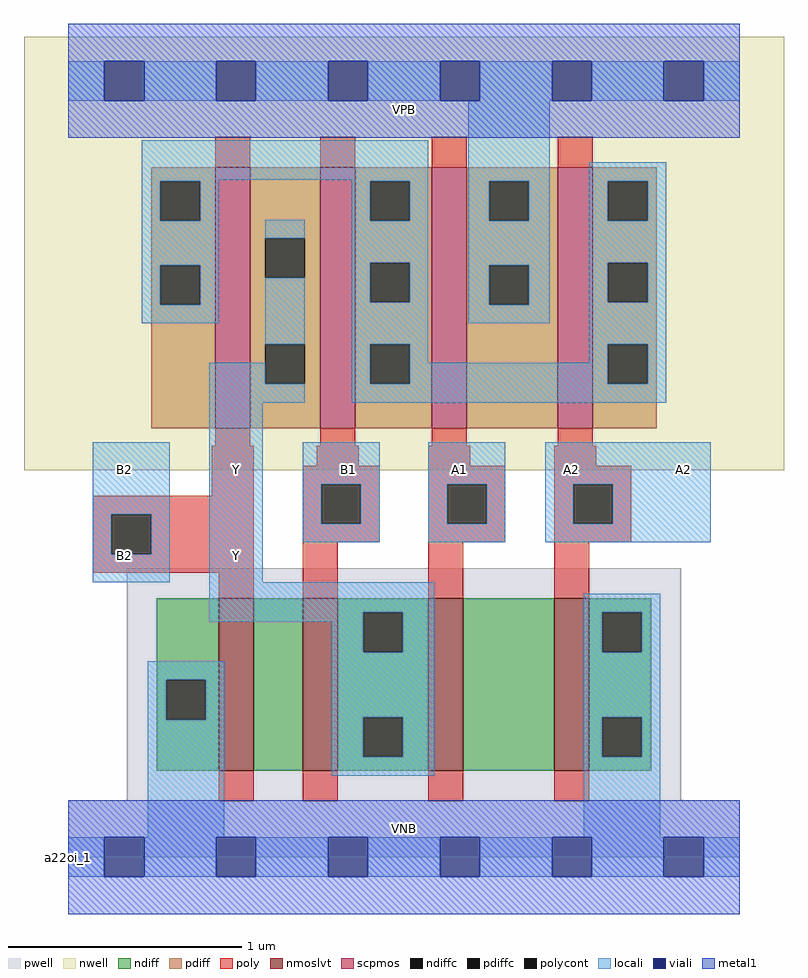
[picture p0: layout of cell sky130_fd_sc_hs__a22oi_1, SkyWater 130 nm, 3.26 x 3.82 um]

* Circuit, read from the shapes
.subckt sky130_fd_sc_hs__a22oi_1 A1 A2 B1 B2 VGND VNB VPB VPWR Y
XM1 n1 B2 VGND VNB sky130_fd_pr__nfet_01v8_lvt w=0.74 l=0.15
XM2 Y B1 n1 VNB sky130_fd_pr__nfet_01v8_lvt w=0.74 l=0.15
XM3 n2 A1 Y VNB sky130_fd_pr__nfet_01v8_lvt w=0.74 l=0.15
XM4 VGND A2 n2 VNB sky130_fd_pr__nfet_01v8_lvt w=0.74 l=0.15
XM5 Y B2 n3 VPB sky130_fd_pr__pfet_01v8 w=1.12 l=0.15
XM6 n3 B1 Y VPB sky130_fd_pr__pfet_01v8 w=1.12 l=0.15
XM7 VPWR A1 n3 VPB sky130_fd_pr__pfet_01v8 w=1.12 l=0.15
XM8 n3 A2 VPWR VPB sky130_fd_pr__pfet_01v8 w=1.12 l=0.15
.ends

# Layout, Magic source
magic
tech sky130A
magscale 1 2
<< nwell >>
rect -38 332 614 704
<< pwell >>
rect 50 49 526 248
rect 0 0 576 49
<< scpmos >>
rect 126 368 156 592
rect 216 368 246 592
rect 312 368 342 592
rect 420 368 450 592
<< nmoslvt >>
rect 129 74 159 222
rect 201 74 231 222
rect 309 74 339 222
rect 417 74 447 222
<< ndiff >>
rect 76 152 129 222
rect 76 118 84 152
rect 118 118 129 152
rect 76 74 129 118
rect 159 74 201 222
rect 231 210 309 222
rect 231 176 253 210
rect 287 176 309 210
rect 231 120 309 176
rect 231 86 253 120
rect 287 86 309 120
rect 231 74 309 86
rect 339 74 417 222
rect 447 210 500 222
rect 447 176 458 210
rect 492 176 500 210
rect 447 120 500 176
rect 447 86 458 120
rect 492 86 500 120
rect 447 74 500 86
<< pdiff >>
rect 71 580 126 592
rect 71 546 79 580
rect 113 546 126 580
rect 71 508 126 546
rect 71 474 79 508
rect 113 474 126 508
rect 71 368 126 474
rect 156 531 216 592
rect 156 497 169 531
rect 203 497 216 531
rect 156 440 216 497
rect 156 406 169 440
rect 203 406 216 440
rect 156 368 216 406
rect 246 580 312 592
rect 246 546 259 580
rect 293 546 312 580
rect 246 510 312 546
rect 246 476 259 510
rect 293 476 312 510
rect 246 440 312 476
rect 246 406 259 440
rect 293 406 312 440
rect 246 368 312 406
rect 342 580 420 592
rect 342 546 361 580
rect 395 546 420 580
rect 342 508 420 546
rect 342 474 361 508
rect 395 474 420 508
rect 342 368 420 474
rect 450 580 505 592
rect 450 546 463 580
rect 497 546 505 580
rect 450 510 505 546
rect 450 476 463 510
rect 497 476 505 510
rect 450 440 505 476
rect 450 406 463 440
rect 497 406 505 440
rect 450 368 505 406
<< ndiffc >>
rect 84 118 118 152
rect 253 176 287 210
rect 253 86 287 120
rect 458 176 492 210
rect 458 86 492 120
<< pdiffc >>
rect 79 546 113 580
rect 79 474 113 508
rect 169 497 203 531
rect 169 406 203 440
rect 259 546 293 580
rect 259 476 293 510
rect 259 406 293 440
rect 361 546 395 580
rect 361 474 395 508
rect 463 546 497 580
rect 463 476 497 510
rect 463 406 497 440
<< poly >>
rect 126 592 156 618
rect 216 592 246 618
rect 312 592 342 618
rect 420 592 450 618
rect 126 353 156 368
rect 216 353 246 368
rect 312 353 342 368
rect 420 353 450 368
rect 123 310 159 353
rect 213 336 249 353
rect 309 336 345 353
rect 417 336 453 353
rect 21 294 159 310
rect 21 260 37 294
rect 71 260 159 294
rect 21 244 159 260
rect 129 222 159 244
rect 201 320 267 336
rect 201 286 217 320
rect 251 286 267 320
rect 201 270 267 286
rect 309 320 375 336
rect 309 286 325 320
rect 359 286 375 320
rect 309 270 375 286
rect 417 320 483 336
rect 417 286 433 320
rect 467 286 483 320
rect 417 270 483 286
rect 201 222 231 270
rect 309 222 339 270
rect 417 222 447 270
rect 129 48 159 74
rect 201 48 231 74
rect 309 48 339 74
rect 417 48 447 74
<< polycont >>
rect 37 260 71 294
rect 217 286 251 320
rect 325 286 359 320
rect 433 286 467 320
<< locali >>
rect 0 649 31 683
rect 65 649 127 683
rect 161 649 223 683
rect 257 649 319 683
rect 353 649 415 683
rect 449 649 511 683
rect 545 649 576 683
rect 63 581 309 615
rect 63 580 129 581
rect 63 546 79 580
rect 113 546 129 580
rect 243 580 309 581
rect 63 508 129 546
rect 63 474 79 508
rect 113 474 129 508
rect 63 458 129 474
rect 169 531 203 547
rect 169 440 203 497
rect 121 406 169 424
rect 121 390 203 406
rect 243 546 259 580
rect 293 546 309 580
rect 243 510 309 546
rect 243 476 259 510
rect 293 476 309 510
rect 243 440 309 476
rect 343 580 413 649
rect 343 546 361 580
rect 395 546 413 580
rect 343 508 413 546
rect 343 474 361 508
rect 395 474 413 508
rect 343 458 413 474
rect 447 580 513 596
rect 447 546 463 580
rect 497 546 513 580
rect 447 510 513 546
rect 447 476 463 510
rect 497 476 513 510
rect 243 406 259 440
rect 293 424 309 440
rect 447 440 513 476
rect 447 424 463 440
rect 293 406 463 424
rect 497 406 513 440
rect 243 390 513 406
rect 21 294 87 356
rect 21 260 37 294
rect 71 260 87 294
rect 21 236 87 260
rect 121 236 167 390
rect 201 320 267 356
rect 201 286 217 320
rect 251 286 267 320
rect 201 270 267 286
rect 309 320 375 356
rect 309 286 325 320
rect 359 286 375 320
rect 309 270 375 286
rect 409 320 551 356
rect 409 286 433 320
rect 467 286 551 320
rect 409 270 551 286
rect 121 210 314 236
rect 121 202 253 210
rect 226 176 253 202
rect 287 176 314 210
rect 68 152 134 168
rect 68 118 84 152
rect 118 118 134 152
rect 68 17 134 118
rect 226 120 314 176
rect 226 86 253 120
rect 287 86 314 120
rect 226 70 314 86
rect 442 210 508 226
rect 442 176 458 210
rect 492 176 508 210
rect 442 120 508 176
rect 442 86 458 120
rect 492 86 508 120
rect 442 17 508 86
rect 0 -17 31 17
rect 65 -17 127 17
rect 161 -17 223 17
rect 257 -17 319 17
rect 353 -17 415 17
rect 449 -17 511 17
rect 545 -17 576 17
<< viali >>
rect 31 649 65 683
rect 127 649 161 683
rect 223 649 257 683
rect 319 649 353 683
rect 415 649 449 683
rect 511 649 545 683
rect 31 -17 65 17
rect 127 -17 161 17
rect 223 -17 257 17
rect 319 -17 353 17
rect 415 -17 449 17
rect 511 -17 545 17
<< metal1 >>
rect 0 683 576 715
rect 0 649 31 683
rect 65 649 127 683
rect 161 649 223 683
rect 257 649 319 683
rect 353 649 415 683
rect 449 649 511 683
rect 545 649 576 683
rect 0 617 576 649
rect 0 17 576 49
rect 0 -17 31 17
rect 65 -17 127 17
rect 161 -17 223 17
rect 257 -17 319 17
rect 353 -17 415 17
rect 449 -17 511 17
rect 545 -17 576 17
rect 0 -49 576 -17
<< labels >>
rlabel comment s 0 0 0 0 4 a22oi_1
flabel pwell s 0 0 576 49 0 FreeSans 200 0 0 0 VNB
port 6 nsew ground bidirectional
flabel nwell s 0 617 576 666 0 FreeSans 200 0 0 0 VPB
port 7 nsew power bidirectional
flabel metal1 s 0 617 576 666 0 FreeSans 340 0 0 0 VPWR
port 8 nsew power bidirectional
flabel metal1 s 0 0 576 49 0 FreeSans 340 0 0 0 VGND
port 5 nsew ground bidirectional
flabel locali s 31 242 65 276 0 FreeSans 340 0 0 0 B2
port 4 nsew signal input
flabel locali s 31 316 65 350 0 FreeSans 340 0 0 0 B2
port 4 nsew signal input
flabel locali s 127 242 161 276 0 FreeSans 340 0 0 0 Y
port 9 nsew signal output
flabel locali s 127 316 161 350 0 FreeSans 340 0 0 0 Y
port 9 nsew signal output
flabel locali s 223 316 257 350 0 FreeSans 340 0 0 0 B1
port 3 nsew signal input
flabel locali s 415 316 449 350 0 FreeSans 340 0 0 0 A2
port 2 nsew signal input
flabel locali s 511 316 545 350 0 FreeSans 340 0 0 0 A2
port 2 nsew signal input
flabel locali s 319 316 353 350 0 FreeSans 340 0 0 0 A1
port 1 nsew signal input
<< properties >>
string LEFsite unit
string LEFclass CORE
string FIXED_BBOX 0 0 576 666
string GDS_FILE $PDKPATH/libs.ref/sky130_fd_sc_hs/gds/sky130_fd_sc_hs.gds
string LEFsymmetry X Y
string GDS_END 301718
string GDS_START 295992
<< end >>
